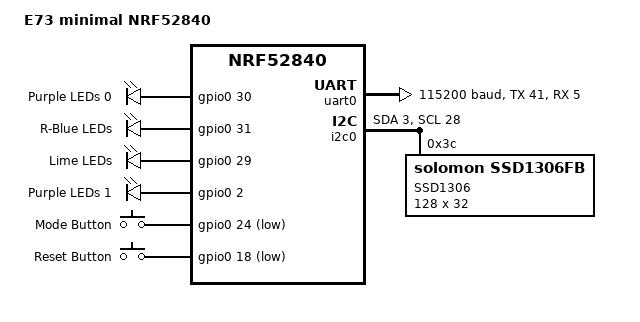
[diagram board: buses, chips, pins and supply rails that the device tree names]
/*
 * Copyright (c) 2018 Nordic Semiconductor ASA
 * Copyright (c) 2017 Linaro Limited
 *
 * SPDX-License-Identifier: Apache-2.0
 */

/dts-v1/;
#include <nordic/nrf52840_qiaa.dtsi>

/ {
	model = "E73 minimal NRF52840";
	compatible = "nordic,e73-minimal-nrf52840";

	chosen {
		zephyr,console = &uart0;
		zephyr,shell-uart = &uart0;
		zephyr,uart-mcumgr = &uart0;
		zephyr,bt-mon-uart = &uart0;
		zephyr,bt-c2h-uart = &uart0;
		zephyr,sram = &sram0;
		zephyr,flash = &flash0;
		zephyr,code-partition = &slot0_partition;
	};




};

&flash0 {
	partitions {
		compatible = "fixed-partitions";
		#address-cells = <1>;
		#size-cells = <1>;

		boot_partition: partition@0 {
			label = "mcuboot";
			reg = <0x000000000 0x0000C000>;
		};
		slot0_partition: partition@c000 {
			label = "image-0";
			reg = <0x0000C000 0x00067000>;
		};
		slot1_partition: partition@73000 {
			label = "image-1";
			reg = <0x00073000 0x00067000>;
		};
		scratch_partition: partition@da000 {
			label = "image-scratch";
			reg = <0x000da000 0x0001e000>;
		};

		/*
		 * The flash starting at 0x000f8000 and ending at
		 * 0x000fffff is reserved for use by the application.
		 */

		/*
		 * Storage partition will be used by FCB/LittleFS/NVS
		 * if enabled.
		 */
		storage_partition: partition@f8000 {
			label = "storage";
			reg = <0x000f8000 0x00008000>;
		};
	};
	gpio_keys {
		compatible = "gpio-keys";
		mode_button: button_0 {
			gpios = <&gpio0 24 (GPIO_PULL_UP | GPIO_ACTIVE_LOW)>;
			label = "Mode Button";
		};

		reset_button: button_1 {
				gpios = <&gpio0 18 (GPIO_PULL_UP | GPIO_ACTIVE_LOW)>;
				label = "Reset Button";
		};
	 
	};
};

&gpiote {
	status = "okay";
};

&gpio0 {
	status = "okay";
};

&gpio1 {
	status = "okay";
};

&uart0 {
	compatible = "nordic,nrf-uarte";
	status = "okay";
	current-speed = <115200>;
	tx-pin = <41>;
	rx-pin = <5>;
};

&i2c0 {
	status = "okay";
	sda-pin = <3>;
	scl-pin = <28>;

	ssd1306@3c {
		compatible = "solomon,ssd1306fb";
		reg = <0x3c>;
		label = "SSD1306";
		width = <128>;
		height = <32>;
		segment-offset = <0>;
		page-offset = <0>;
		display-offset = <0>;
		multiplex-ratio = <31>;
		segment-remap;
		com-invdir;
		com-sequential;
		prechargep = <0x22>;
	};
};
/ {
	leds {
	compatible = "gpio-leds";
	led4: led_4 {
		gpios = <&gpio0 30 GPIO_ACTIVE_HIGH>;
		label = "Purple LEDs 0";
	};
	led5: led_5 {
		gpios = <&gpio0 31 GPIO_ACTIVE_HIGH>;
		label = "R-Blue LEDs";
	};
	led6: led_6 {
		gpios = <&gpio0 29 GPIO_ACTIVE_HIGH>;
		label = "Lime LEDs";
	};
	led7: led_7 {
		gpios = <&gpio0 2 GPIO_ACTIVE_HIGH>;
		label = "Purple LEDs 1";
	};

};

aliases {
	hledp0 = &led4;
	hledrb = &led5;
	hledl = &led6;
	hledp1 = &led7;
};

};





